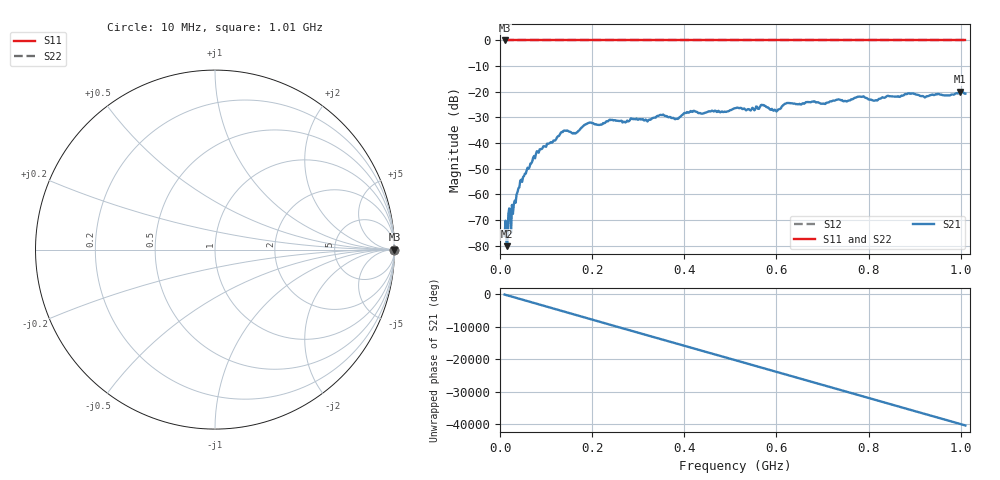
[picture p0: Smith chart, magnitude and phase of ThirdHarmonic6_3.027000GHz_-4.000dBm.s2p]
! 8/17/2025 8:43:35 AM
! C:\ANRITSUVNA\TEMP\TEMP.S2P
! CHANNEL.1
! TR.MEASUREMENT
! RAW.DATA
! RF.CORRECTION.OFF
! AVERAGING.OFF
! IF.BANDWIDTH: 5KHZ
! SWEEPTYPE:  FREQ.SWEEP(Linear)
! Reference Plane Port Info
! PORT:  PORT1  PORT2
! DISTANCE:  0  m  0  m
! TIME:  0  s  0  s
! PHASE.OFFSET:  0  deg.  0  deg.
! LOSS:  0  dB  0  dB
! REF.LOSS:  0  dB  0  dB
! REF.FREQ:  0  Hz  0  Hz
! Power Info
! POWER:  -20  dBm  -20  dBm
! EFF.POWER:  -20  dBm  -20  dBm
! SOURCE.ATTEN:  0  dB  0  dB
! TEST.ATTEN:  0  dB  0  dB
# GHZ S RI R 50.0
! FREQ.GHZ  S11RE  S11IM  S21RE  S21IM  S12RE  S12IM  S22RE  S22IM
!; PortSelection: Port_12
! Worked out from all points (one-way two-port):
!   501 points, 10 MHz to 1.01 GHz, reference 50 ohm
!   highest |S21| = -20.01 dB at 998 MHz (marker M1); lowest = -80.2 dB at 16 MHz (marker M2)
!   lowest |S11| = 0.0 dB at 10 MHz (marker M3)
!   |S11| at or under -10 dB: nowhere
!   |S22| runs from 0.0 to 0.0 dB; largest |S21 - S12| = 1.1
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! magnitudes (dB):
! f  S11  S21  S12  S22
! 10 MHz  0.0  -76.2  0.0  0.0
! 12 MHz  0.0  -70.3  0.0  0.0
! 16 MHz  0.0  -80.2  0.0  0.0
! 20 MHz  0.0  -65.4  0.0  0.0
! 22 MHz  0.0  -66.3  0.0  0.0
! 28 MHz  0.0  -67.6  0.0  0.0
! 42 MHz  0.0  -57.3  0.0  0.0
! 76 MHz  0.0  -46.0  0.0  0.0
! 136 MHz  0.0  -35.7  0.0  0.0
! 162 MHz  0.0  -36.2  0.0  0.0
! 178 MHz  0.0  -33.9  0.0  0.0
! 344 MHz  0.0  -29.4  0.0  0.0
! 384 MHz  0.0  -30.5  0.0  0.0
! 416 MHz  0.0  -27.7  0.0  0.0
! 510 MHz  0.0  -26.4  0.0  0.0
! 570 MHz  0.0  -25.2  0.0  0.0
! 598 MHz  0.0  -27.2  0.0  0.0
! 622 MHz  0.0  -24.4  0.0  0.0
! 678 MHz  0.0  -23.8  0.0  0.0
! 844 MHz  0.0  -21.7  0.0  0.0
! 998 MHz  0.0  -20.0  0.0  0.0
! 1.01 GHz  0.0  -20.7  0.0  0.0
